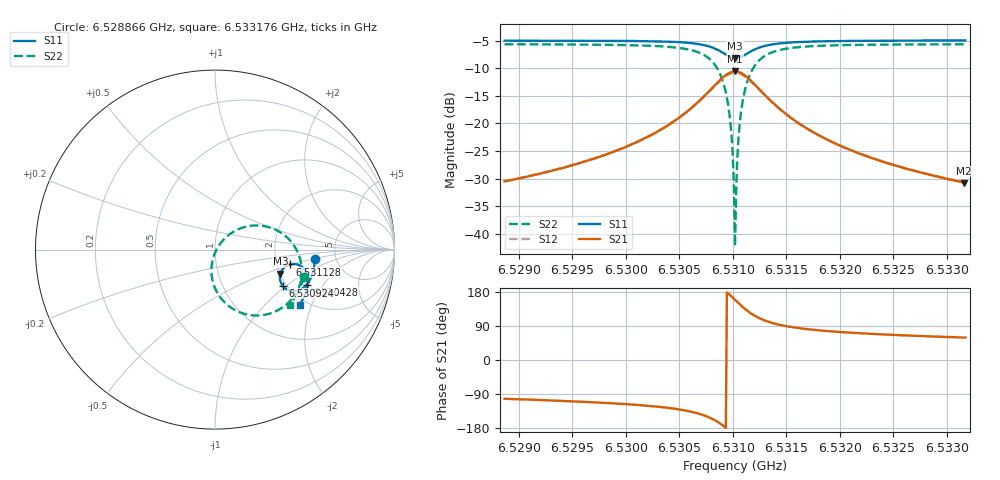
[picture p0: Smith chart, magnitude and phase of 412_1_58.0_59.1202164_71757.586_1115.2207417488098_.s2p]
#  HZ  S  RI  R  50.00
! Rohde & Schwarz Vector Network Analyzer
! Rohde-Schwarz,ZNB20-2Port,1311601062101988,3.16
! Created: UTC 3/21/2024, 1:08:46 AM
! freq[Hz]  re:S11  im:S11  re:S21  im:S21  re:S12  im:S12  re:S22  im:S22
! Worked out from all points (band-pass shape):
!   401 points, 6.528866 GHz to 6.533176 GHz, reference 50 ohm
!   highest |S21| = -10.59 dB at 6.531021 GHz (marker M1); lowest = -30.8 dB at 6.533165 GHz (marker M2)
!   |S21| within 3 dB of the highest: 6.530807 GHz to 6.531237 GHz (430.4 kHz wide, 0.00659 % of centre)
!   lowest |S11| = -8.2 dB at 6.531021 GHz (marker M3), VSWR 2.27, Z = 101 - j31.8 ohm
!   |S11| at or under -10 dB: nowhere
!   |S22| runs from -42.2 to -5.7 dB; largest |S21 - S12| = 0.011
!   S11 on the Smith chart (normalised r, x): 6.528866 GHz: 3.47, -0.52; 6.530428 GHz: 2.53, -1.41; 6.530924 GHz: 1.91, -0.93; 6.531128 GHz: 2.37, -0.48; 6.533176 GHz: 1.82, -1.65
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6.5288657e9  0.5588 -0.0515  -0.00639 -0.0293  -0.00694 -0.0292  0.4969 -0.1543
6.5295876e9  0.549 -0.1109  -0.0153 -0.0416  -0.0163 -0.0415  0.4678 -0.2205
6.5303095e9  0.5216 -0.181  -0.0475 -0.0718  -0.0495 -0.0704  0.3898 -0.3126
6.530428e9  0.5116 -0.1952  -0.0615 -0.0803  -0.0639 -0.0785  0.36 -0.3328
6.5307728e9  0.4419 -0.2321  -0.1687 -0.0944  -0.1706 -0.0876  0.1587 -0.3566
6.530859e9  0.405 -0.2244  -0.2259 -0.0672  -0.2249 -0.0582  0.0628 -0.3027
6.5309236e9  0.3763 -0.2007  -0.2682 -0.0169  -0.2631 -0.00759  -0.00161 -0.2112
6.5309667e9  0.3636 -0.1741  -0.2841 0.0339  -0.276 0.0417  -0.0202 -0.1238
6.5309883e9  0.3614 -0.1583  -0.2849 0.063  -0.2757 0.0692  -0.017 -0.076
6.5309991e9  0.3615 -0.1503  -0.2832 0.0778  -0.2736 0.0831  -0.0119 -0.052
6.5310098e9  0.3626 -0.1422  -0.28 0.0924  -0.27 0.0969  -0.00423 -0.0283
6.5310206e9  0.3644 -0.1341  -0.2754 0.1068  -0.2653 0.1104  0.00561 -0.00537
6.5310422e9  0.3707 -0.119  -0.262 0.1338  -0.2518 0.1354  0.032 0.0368
6.5310529e9  0.375 -0.1121  -0.2532 0.146  -0.2436 0.1469  0.0479 0.0554
6.5310745e9  0.3854 -0.1001  -0.2333 0.1672  -0.2243 0.1665  0.0841 0.0874
6.5311284e9  0.4174 -0.0825  -0.1753 0.1988  -0.1688 0.1959  0.1852 0.1303
6.5312038e9  0.4585 -0.083  -0.1025 0.2011  -0.0991 0.1984  0.3083 0.1224
6.5313115e9  0.4947 -0.1049  -0.0397 0.1718  -0.0382 0.1702  0.4111 0.0583
6.5317425e9  0.519 -0.1839  0.0147 0.083  0.0156 0.0828  0.4829 -0.1287
6.5324644e9  0.499 -0.256  0.017 0.0397  0.0178 0.0396  0.4554 -0.2448
6.5331647e9  0.4718 -0.3076  0.015 0.0248  0.0156 0.0248  0.4208 -0.3056
6.5331755e9  0.4714 -0.3083  0.0149 0.0251  0.0155 0.0246  0.4202 -0.3064
